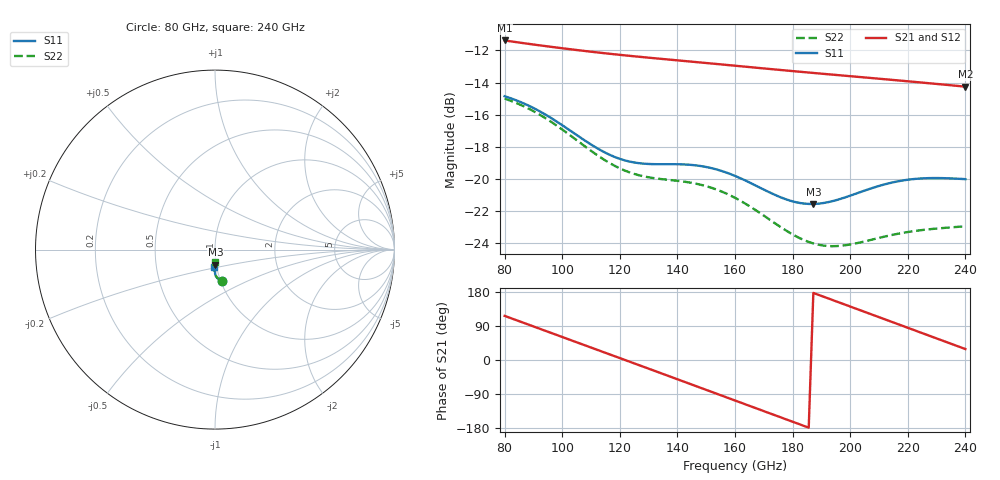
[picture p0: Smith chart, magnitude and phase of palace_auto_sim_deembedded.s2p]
! Created with skrf 1.11.0 (http://scikit-rf.org).
# GHz S DB R 50.0
!freq dBS11 angS11 dBS21 angS21 dBS12 angS12 dBS22 angS22
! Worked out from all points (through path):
!   101 points, 80 GHz to 240 GHz, reference 50 ohm
!   highest |S21| = -11.38 dB at 80 GHz (marker M1); lowest = -14.3 dB at 240 GHz (marker M2)
!   group delay of S21, straight-line fit = 7.77 ps
!   lowest |S11| = -21.6 dB at 187.2 GHz (marker M3), VSWR 1.18, Z = 49.5 - j8.32 ohm
!   |S11| at or under -10 dB: start of sweep to end of sweep
!   |S22| runs from -24.2 to -15.0 dB; largest |S21 - S12| = 3.6e-13
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80  -14.85 -77.3  -11.38 116.5  -11.38 116.5  -15.00 -77.0
86.4  -15.28 -81.1  -11.54 98.7  -11.54 98.7  -15.46 -81.1
92.8  -15.86 -84.8  -11.70 80.8  -11.70 80.8  -16.07 -85.2
99.2  -16.56 -87.8  -11.85 63.0  -11.85 63.0  -16.82 -88.6
107.2  -17.53 -89.8  -12.02 40.7  -12.02 40.7  -17.88 -91.3
113.6  -18.24 -89.7  -12.15 22.9  -12.15 22.9  -18.70 -91.8
120  -18.75 -88.5  -12.28 5.1  -12.28 5.1  -19.35 -91.1
126.4  -19.02 -87.2  -12.39 -12.8  -12.39 -12.8  -19.76 -90.0
134.4  -19.09 -86.7  -12.53 -35.1  -12.53 -35.1  -20.01 -89.6
147.2  -19.18 -89.7  -12.74 -71.0  -12.74 -71.0  -20.33 -92.7
153.6  -19.41 -92.0  -12.85 -88.9  -12.85 -88.9  -20.67 -95.3
160  -19.82 -94.1  -12.95 -106.9  -12.95 -106.9  -21.18 -97.8
166.4  -20.35 -95.1  -13.06 -124.8  -13.06 -124.8  -21.86 -99.6
174.4  -21.04 -94.3  -13.20 -147.2  -13.20 -147.2  -22.83 -99.6
180.8  -21.44 -91.9  -13.30 -165.1  -13.30 -165.1  -23.54 -97.6
187.2  -21.56 -88.8  -13.40 177.0  -13.40 177.0  -24.02 -94.2
193.6  -21.40 -86.0  -13.51 159.1  -13.51 159.1  -24.19 -90.3
201.6  -20.95 -84.5  -13.63 136.6  -13.63 136.6  -24.03 -86.7
214.4  -20.24 -86.3  -13.83 100.7  -13.83 100.7  -23.50 -85.0
220.8  -20.04 -88.4  -13.94 82.8  -13.94 82.8  -23.29 -85.5
227.2  -19.96 -90.5  -14.04 64.8  -14.04 64.8  -23.15 -86.4
240  -20.02 -94.0  -14.26 28.9  -14.26 28.9  -22.95 -88.3
